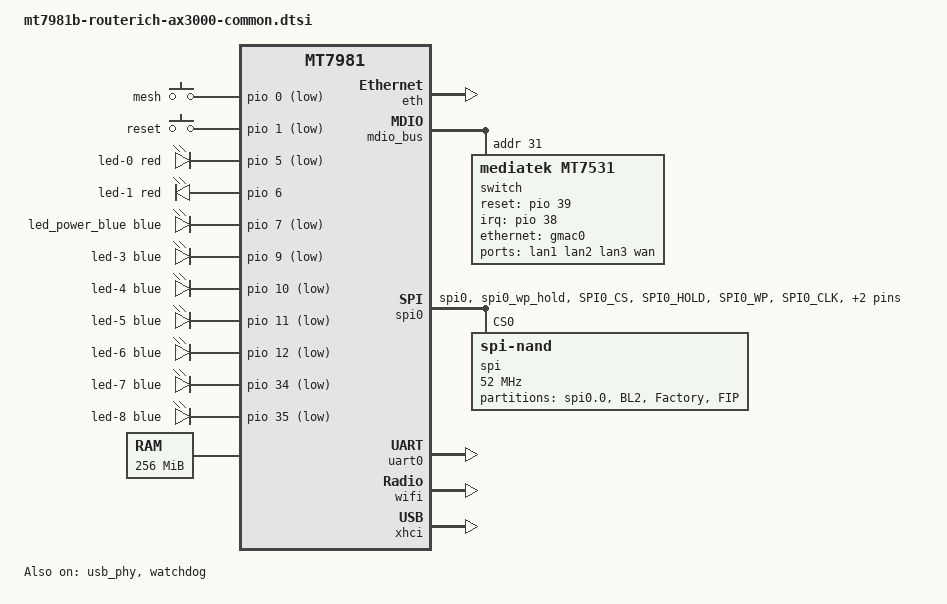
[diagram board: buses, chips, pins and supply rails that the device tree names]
// SPDX-License-Identifier: GPL-2.0-only OR MIT

/dts-v1/;
#include <dt-bindings/gpio/gpio.h>
#include <dt-bindings/input/input.h>
#include <dt-bindings/leds/common.h>

#include "mt7981.dtsi"

/ {
	aliases {
		label-mac-device = &wan;

		led-boot = &led_power_blue;
		led-failsafe = &led_power_blue;
		led-running = &led_power_blue;
		led-upgrade = &led_power_blue;

		serial0 = &uart0;
	};

	chosen: chosen {
		stdout-path = "serial0:115200n8";
	};

	gpio-keys {
		compatible = "gpio-keys";

		button-0 {
			label = "mesh";
			linux,input-type = <EV_SW>;
			linux,code = <BTN_0>;
			gpios = <&pio 0 GPIO_ACTIVE_LOW>;
			debounce-interval = <60>;
		};

		button-1 {
			label = "reset";
			gpios = <&pio 1 GPIO_ACTIVE_LOW>;
			linux,code = <KEY_RESTART>;
			debounce-interval = <60>;
		};
	};

	leds {
		compatible = "gpio-leds";

		led-0 {
			color = <LED_COLOR_ID_RED>;
			function = LED_FUNCTION_WLAN;
			function-enumerator = <50>;
			gpios = <&pio 5 GPIO_ACTIVE_LOW>;
			linux,default-trigger = "phy1tpt";
		};

		led-1 {
			color = <LED_COLOR_ID_RED>;
			function = LED_FUNCTION_WAN;
			gpios = <&pio 6 GPIO_ACTIVE_HIGH>;
		};

		led_power_blue: led-2 {
			color = <LED_COLOR_ID_BLUE>;
			function = LED_FUNCTION_POWER;
			gpios = <&pio 7 GPIO_ACTIVE_LOW>;
		};

		led-3 {
			color = <LED_COLOR_ID_BLUE>;
			function = LED_FUNCTION_LAN;
			function-enumerator = <1>;
			gpios = <&pio 9 GPIO_ACTIVE_LOW>;
		};

		led-4 {
			color = <LED_COLOR_ID_BLUE>;
			function = LED_FUNCTION_LAN;
			function-enumerator = <2>;
			gpios = <&pio 10 GPIO_ACTIVE_LOW>;
		};

		led-5 {
			color = <LED_COLOR_ID_BLUE>;
			function = LED_FUNCTION_LAN;
			function-enumerator = <3>;
			gpios = <&pio 11 GPIO_ACTIVE_LOW>;
		};

		led-6 {
			color = <LED_COLOR_ID_BLUE>;
			function = LED_FUNCTION_WAN;
			gpios = <&pio 12 GPIO_ACTIVE_LOW>;
		};

		led-7 {
			color = <LED_COLOR_ID_BLUE>;
			function = LED_FUNCTION_WLAN;
			function-enumerator = <24>;
			gpios = <&pio 34 GPIO_ACTIVE_LOW>;
			linux,default-trigger = "phy0tpt";
		};

		led-8 {
			color = <LED_COLOR_ID_BLUE>;
			/* LED_FUNCTION_MESH isn't implemented yet */
			function = "mesh";
			gpios = <&pio 35 GPIO_ACTIVE_LOW>;
		};
	};

	memory {
		reg = <0 0x40000000 0 0x10000000>;
	};
};

&eth {
	status = "okay";

	gmac0: mac@0 {
		compatible = "mediatek,eth-mac";
		reg = <0>;
		phy-mode = "2500base-x";

		nvmem-cell-names = "mac-address";
		nvmem-cells = <&macaddr_factory_4 (-1)>;

		fixed-link {
			speed = <2500>;
			full-duplex;
			pause;
		};
	};
};

&mdio_bus {
	switch: switch@1f {
		compatible = "mediatek,mt7531";
		reg = <0x1f>;
		reset-gpios = <&pio 39 GPIO_ACTIVE_HIGH>;
		interrupt-controller;
		#interrupt-cells = <1>;
		interrupt-parent = <&pio>;
		interrupts = <38 IRQ_TYPE_LEVEL_HIGH>;
	};
};

&spi0 {
	pinctrl-names = "default";
	pinctrl-0 = <&spi0_flash_pins>;
	status = "okay";

	/* ESMT F50L1G41LB (128M) */
	spi: spi_nand@0 {
		#address-cells = <1>;
		#size-cells = <1>;
		compatible = "spi-nand";
		reg = <0>;

		spi-max-frequency = <52000000>;
		spi-tx-bus-width = <4>;
		spi-rx-bus-width = <4>;

		spi-cal-enable;
		spi-cal-mode = "read-data";
		spi-cal-datalen = <7>;
		spi-cal-data = /bits/ 8 <0x53 0x50 0x49 0x4e 0x41 0x4e 0x44>;
		spi-cal-addrlen = <5>;
		spi-cal-addr = /bits/ 32 <0x0 0x0 0x0 0x0 0x0>;

		partitions: partitions {
			compatible = "fixed-partitions";
			#address-cells = <1>;
			#size-cells = <1>;

			partition@0_all {
				label = "spi0.0";
				reg = <0x0 0x8000000>;
				read-only;
			};

			partition@0 {
				label = "BL2";
				reg = <0x0 0x100000>;
				read-only;
			};

			partition@180000 {
				label = "Factory";
				reg = <0x180000 0x200000>;
				read-only;

				nvmem-layout {
					compatible = "fixed-layout";
					#address-cells = <1>;
					#size-cells = <1>;

					eeprom_factory_0: eeprom@0 {
						reg = <0x0 0x1000>;
					};

					macaddr_factory_4: macaddr@4 {
						compatible = "mac-base";
						reg = <0x4 0x6>;
						#nvmem-cell-cells = <1>;
					};
				};
			};

			partition@380000 {
				label = "FIP";
				reg = <0x380000 0x200000>;
				read-only;
			};
		};
	};
};

&switch {
	ports {
		#address-cells = <1>;
		#size-cells = <0>;

		port@0 {
			reg = <0>;
			label = "lan1";
		};

		port@2 {
			reg = <2>;
			label = "lan2";
		};

		port@3 {
			reg = <3>;
			label = "lan3";
		};

		wan: port@4 {
			reg = <4>;
			label = "wan";

			nvmem-cell-names = "mac-address";
			nvmem-cells = <&macaddr_factory_4 (-2)>;
		};

		port@6 {
			reg = <6>;
			ethernet = <&gmac0>;
			phy-mode = "2500base-x";

			fixed-link {
				speed = <2500>;
				full-duplex;
				pause;
			};
		};
	};
};

&pio {
	spi0_flash_pins: spi0-pins {
		mux {
			function = "spi";
			groups = "spi0", "spi0_wp_hold";
		};

		conf-pu {
			pins = "SPI0_CS", "SPI0_HOLD", "SPI0_WP";
			drive-strength = <MTK_DRIVE_8mA>;
			bias-pull-up = <MTK_PUPD_SET_R1R0_11>;
		};

		conf-pd {
			pins = "SPI0_CLK", "SPI0_MOSI", "SPI0_MISO";
			drive-strength = <MTK_DRIVE_8mA>;
			bias-pull-down = <MTK_PUPD_SET_R1R0_11>;
		};
	};
};

&uart0 {
	status = "okay";
};

&usb_phy {
	status = "okay";
};

&watchdog {
	status = "okay";
};

&wifi {
	status = "okay";
	nvmem-cell-names = "eeprom";
	nvmem-cells = <&eeprom_factory_0>;
};

&xhci {
	status = "okay";
	mediatek,u3p-dis-msk = <0x1>;
};
